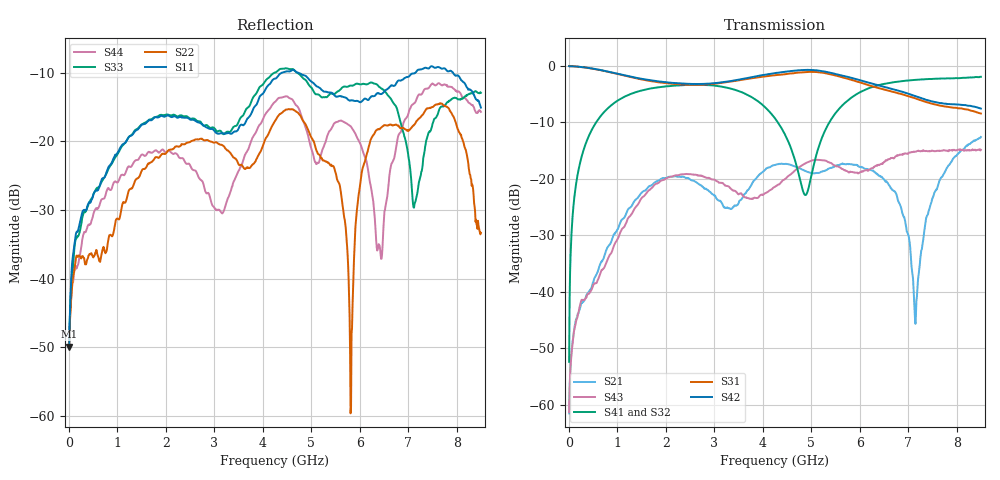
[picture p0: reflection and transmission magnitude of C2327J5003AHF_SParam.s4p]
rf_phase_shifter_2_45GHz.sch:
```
<Qucs Schematic 0.0.20>
<Properties>
  <View=-733,-169,1653,1120,1,697,60>
  <Grid=10,10,1>
  <DataSet=rf_phase_shifter_2_45GHz.dat>
  <DataDisplay=rf_phase_shifter_2_45GHz.dpl>
  <OpenDisplay=1>
  <Script=rf_phase_shifter_2_45GHz.m>
  <RunScript=0>
  <showFrame=0>
  <FrameText0=Title>
  <FrameText1=Drawn By:>
  <FrameText2=Date:>
  <FrameText3=Revision:>
</Properties>
<Symbol>
  <.ID -20 -16 SUB>
  <Line -20 20 40 0 #000080 2 1>
  <Line 20 20 0 -40 #000080 2 1>
  <Line -20 -20 40 0 #000080 2 1>
  <Line -20 20 0 -40 #000080 2 1>
</Symbol>
<Components>
  <C C1 1 170 480 -32 -72 0 0 "100 pF" 1 "" 0 "neutral" 0>
  <C C2 1 170 690 -26 17 0 0 "100 pF" 1 "" 0 "neutral" 0>
  <GND * 5 100 830 0 0 0 0>
  <GND * 5 40 600 0 0 0 0>
  <GND * 5 730 590 0 0 0 0>
  <GND * 5 920 590 0 0 0 0>
  <GND * 5 730 790 0 0 0 0>
  <GND * 5 920 790 0 0 0 0>
  <Pac P1 1 40 540 18 -26 0 1 "1" 1 "50 Ohm" 1 "0 dBm" 0 "2.45 GHz" 0 "26.85" 0>
  <Pac P2 1 100 770 18 -26 0 1 "2" 1 "50 Ohm" 1 "-100 dBm" 0 "2.45 GHz" 0 "26.85" 0>
  <GND * 5 460 630 0 0 0 0>
  <Vdc V1 1 390 380 -95 -25 0 1 "v_bias" 1>
  <GND * 5 390 430 0 0 0 0>
  <SPfile X8 1 360 580 -117 118 1 3 "./sim_lib/C2327J5003AHF_SParam.s4p" 1 "rectangular" 0 "linear" 0 "unspecified" 0 "4" 0>
  <SUBST Subst1 1 30 50 -30 24 0 0 "4.5" 1 "0.6 mm" 1 "35 um" 1 "0.03" 1 "0.022e-6" 1 "2.388e-3" 1>
  <.DC DC1 1 370 10 0 46 0 0 "26.85" 0 "0.001" 0 "1 pA" 0 "1 uV" 0 "no" 0 "150" 0 "no" 0 "none" 0 "CroutLU" 0>
  <.AC AC1 1 370 100 0 46 0 0 "lin" 1 "2.40 GHz" 1 "2.50 GHz" 1 "3" 1 "no" 0>
  <.SW SW1 1 570 10 0 78 0 0 "AC1" 1 "lin" 1 "v_bias" 1 "0 V" 1 "3.3 V" 1 "1111" 1>
  <Eqn S_param_db_calc 1 1270 20 -31 19 0 0 "dBS11=dB(S[1,1])" 1 "dBS12=dB(S[1,2])" 1 "dBS21=dB(S[2,1])" 1 "dBS22=dB(S[2,2])" 1 "yes" 0>
  <Eqn Eqn1 1 920 20 -31 19 0 0 "phase_shift=rad2deg(angle(out.v) - angle(in.v))" 1 "attenuation=dB(mag(out.v)/mag(in.v))" 1 "att_2_40GHz=attenuation[:,0]" 1 "att_2_45GHz=attenuation[:,1]" 1 "att_2_50GHz=attenuation[:,2]" 1 "pha_shift_2_40GHz=phase_shift[:,0]" 1 "pha_shift_2_45GHz=phase_shift[:,1]" 1 "pha_shift_2_50GHz=phase_shift[:,2]" 1 "out_v_2_40GHz=out.v[:,0]" 1 "out_v_2_45GHz=out.v[:,1]" 1 "out_v_2_50GHz=out.v[:,2]" 1 "yes" 0>
  <Eqn Transmission_line_params 1 170 20 -31 19 0 0 "tl13_width_m=0.002401" 1 "tl13_length_m=0.01875" 1 "tl24_width_m=0.002401" 1 "tl24_length_m=0.006448" 1 "yes" 0>
  <MLIN MS1 1 620 480 -26 15 0 0 "Subst1" 1 "tl13_width_m" 1 "tl13_length_m" 1 "Hammerstad" 0 "Kirschning" 0 "26.85" 0>
  <MLIN MS3 1 620 690 -26 15 0 0 "Subst1" 1 "tl13_width_m" 1 "tl13_length_m" 1 "Hammerstad" 0 "Kirschning" 0 "26.85" 0>
  <MLIN MS2 1 810 480 -26 15 0 0 "Subst1" 1 "tl24_width_m" 1 "tl24_length_m" 1 "Hammerstad" 0 "Kirschning" 0 "26.85" 0>
  <MLIN MS4 1 810 690 -26 15 0 0 "Subst1" 1 "tl24_width_m" 1 "tl24_length_m" 1 "Hammerstad" 0 "Kirschning" 0 "26.85" 0>
  <L L2 1 432 398 10 -26 0 1 "220 nH" 1 "" 0>
  <L L1 1 530 400 10 -26 0 1 "220 nH" 1 "" 0>
  <.SP SP1 1 720 10 0 77 0 0 "lin" 1 "2.4 GHz" 1 "2.5 GHz" 1 "1001" 1 "no" 0 "1" 0 "2" 0 "no" 0 "no" 0>
  <Sub SUB1 1 730 540 -15 -129 0 1 "SMV1763-079LF.sch" 1>
  <Sub SUB3 1 920 530 19 -18 0 1 "SMV1763-079LF.sch" 1>
  <Sub SUB4 1 920 740 21 -17 0 1 "SMV1763-079LF.sch" 1>
  <Sub SUB2 1 730 740 -16 82 0 1 "SMV1763-079LF.sch" 1>
</Components>
<Wires>
  <730 480 730 520 "" 0 0 0 "">
  <730 570 730 590 "" 0 0 0 "">
  <920 560 920 590 "" 0 0 0 "">
  <730 770 730 790 "" 0 0 0 "">
  <920 770 920 790 "" 0 0 0 "">
  <730 690 730 720 "" 0 0 0 "">
  <40 570 40 600 "" 0 0 0 "">
  <40 480 140 480 "in" 10 440 0 "">
  <40 480 40 510 "" 0 0 0 "">
  <100 800 100 830 "" 0 0 0 "">
  <100 690 140 690 "" 0 0 0 "">
  <100 690 100 740 "" 0 0 0 "">
  <460 580 460 630 "" 0 0 0 "">
  <420 580 460 580 "" 0 0 0 "">
  <390 610 390 690 "" 0 0 0 "">
  <390 480 390 550 "" 0 0 0 "">
  <200 690 330 690 "" 0 0 0 "">
  <330 610 330 690 "" 0 0 0 "">
  <200 480 330 480 "" 0 0 0 "">
  <330 480 330 550 "" 0 0 0 "">
  <390 330 432 330 "" 0 0 0 "">
  <390 410 390 430 "" 0 0 0 "">
  <390 330 390 350 "" 0 0 0 "">
  <650 480 730 480 "" 0 0 0 "">
  <650 690 730 690 "" 0 0 0 "">
  <920 480 920 510 "" 0 0 0 "">
  <840 480 920 480 "" 0 0 0 "">
  <730 480 780 480 "" 0 0 0 "">
  <920 690 920 720 "" 0 0 0 "">
  <840 690 920 690 "" 0 0 0 "">
  <730 690 780 690 "" 0 0 0 "">
  <432 330 432 368 "" 0 0 0 "">
  <390 480 432 480 "" 0 0 0 "">
  <432 480 590 480 "" 0 0 0 "">
  <432 428 432 480 "" 0 0 0 "">
  <432 330 530 330 "" 0 0 0 "">
  <530 330 530 370 "" 0 0 0 "">
  <390 690 530 690 "" 0 0 0 "">
  <530 690 590 690 "" 0 0 0 "">
  <530 430 530 690 "" 0 0 0 "">
  <100 690 100 690 "out" 60 650 0 "">
  <530 330 530 330 "bias" 540 290 0 "">
</Wires>
<Diagrams>
</Diagrams>
<Paintings>
</Paintings>
```
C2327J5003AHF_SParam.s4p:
! Port 1 = Pin 1 = Input
! Port 2 = Pin 3 = Isolated Port
! Port 3 = Pin 4 = Direct Port
! Port 4 = Pin 6 = Coupled Port
# MHZ S DB R 50
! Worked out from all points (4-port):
!   851 points, 3 MHz to 8.5 GHz, reference 50 ohm
!   strongest paths, dB at 3 MHz, 2.122 GHz, 4.252 GHz, 6.381 GHz, 8.5 GHz:
!     S42: 0.0, -3.0, -1.3, -3.4, -7.5
!     S31: 0.0, -3.1, -1.6, -3.9, -8.4
!     S41: -52.4, -3.5, -9.3, -3.4, -1.9
!     S32: -52.4, -3.5, -9.3, -3.6, -2.2
!     S43: -61.4, -19.6, -21.4, -17.5, -14.9
!     S21: -61.5, -19.6, -17.5, -19.3, -12.6
!   lowest |S11| = -49.9 dB at 3 MHz (marker M1), VSWR 1.01, Z = 50.3 + j0.119 ohm
!   |S11| at or under -10 dB: start of sweep to 4.39 GHz; 4.732 GHz to 7.148 GHz (2.416 GHz wide, 40.7 % of centre); 7.925 GHz to end of sweep
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3  -49.91 21.7  -61.27 -141.1  -0.03 -0.3  -52.40 73.9
   -61.51 -138.2  -50.00 18.0  -52.46 74.3  -0.03 -0.3
   -0.03 -0.3  -52.41 74.3  -49.76 19.9  -61.57 -140.6
   -52.40 74.2  -0.04 -0.3  -61.36 -139.9  -49.65 18.0
1042.633  -21.13 18.1  -28.05 -170.0  -1.49 -52.5  -5.93 37.7
          -28.10 -170.1  -31.25 22.8  -5.91 37.0  -1.45 -51.7
          -1.49 -52.5  -5.91 36.9  -21.32 17.3  -29.84 175.0
          -5.93 37.6  -1.45 -51.8  -29.83 174.7  -25.43 -25.7
8500  -15.07 -74.3  -12.51 -143.5  -8.40 57.3  -1.94 -24.4
      -12.58 -143.9  -33.30 6.8  -2.18 -44.3  -7.52 61.1
      -8.42 57.1  -2.21 -44.3  -12.92 -24.9  -14.80 -99.5
      -1.92 -24.4  -7.55 60.8  -14.85 -99.4  -15.70 -39.5
